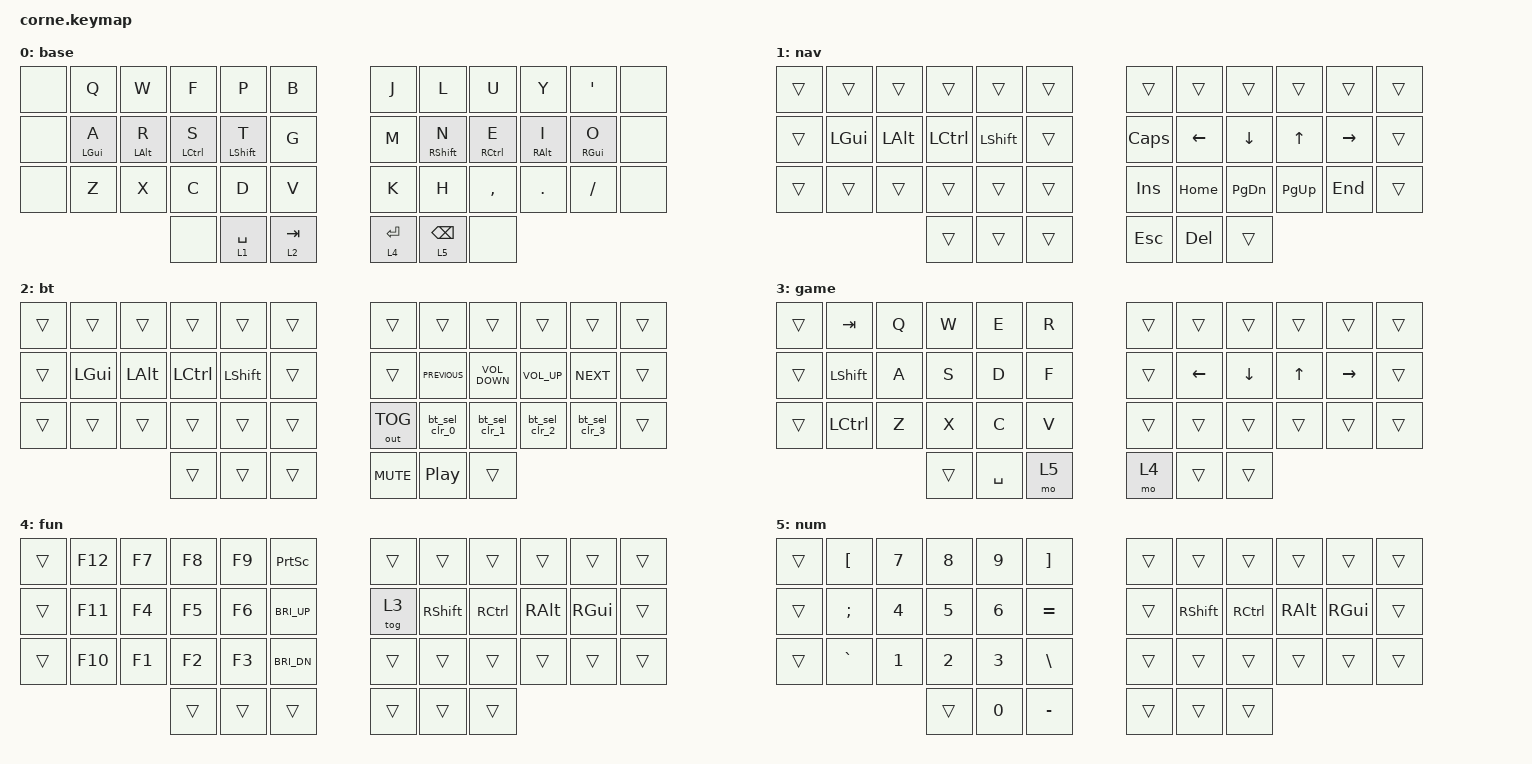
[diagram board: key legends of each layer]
/*
 * Copyright (c) 2020 The ZMK Contributors
 *
 * SPDX-License-Identifier: MIT
 */

#define ZMK_POINTING_DEFAULT_MOVE_VAL 1500  // default: 600
#define ZMK_POINTING_DEFAULT_SCRL_VAL 20    // default: 10

#include <behaviors.dtsi>
#include <dt-bindings/zmk/bt.h>
#include <dt-bindings/zmk/keys.h>
#include <dt-bindings/zmk/outputs.h>

/ {
    combos {
        compatible = "zmk,combos";

        game_esc {
            bindings = <&kp ESC>;
            key-positions = <1 2>;
            layers = <3>;
        };
    };

    behaviors {
        hml: hml {
            compatible = "zmk,behavior-hold-tap";
            label = "HML";
            bindings = <&kp>, <&kp>;

            #binding-cells = <2>;
            tapping-term-ms = <220>;
            quick-tap-ms = <175>;
            flavor = "balanced";
            require-prior-idle-ms = <100>;
            hold-trigger-key-positions = <39 40 41 30 18 6 7 9 10 11 18 19 20 21 22 23 30 31 32 33 34 35 40 41 8 36 37 38>;
            hold-trigger-on-release;
        };

        hmr: hmr {
            compatible = "zmk,behavior-hold-tap";
            label = "HMR";
            bindings = <&kp>, <&kp>;

            #binding-cells = <2>;
            tapping-term-ms = <220>;
            quick-tap-ms = <175>;
            require-prior-idle-ms = <100>;
            flavor = "balanced";
            hold-trigger-key-positions = <0 1 2 3 4 5 12 13 14 15 16 17 24 25 26 27 28 29 36 37 38 39 40 41>;
            hold-trigger-on-release;
        };

        tkl: tkl {
            compatible = "zmk,behavior-hold-tap";
            label = "TKL";
            bindings = <&mo>, <&kp>;

            #binding-cells = <2>;
            tapping-term-ms = <220>;
            quick-tap-ms = <175>;
            flavor = "balanced";
            require-prior-idle-ms = <100>;
            hold-trigger-key-positions = <39 40 41 30 18 6 7 9 10 11 18 19 20 21 22 23 30 31 32 33 34 35 40 41 8 38 37 36>;
            hold-trigger-on-release;
        };

        tkr: tkr {
            compatible = "zmk,behavior-hold-tap";
            label = "TKR";
            bindings = <&mo>, <&kp>;

            #binding-cells = <2>;
            tapping-term-ms = <220>;
            quick-tap-ms = <175>;
            require-prior-idle-ms = <100>;
            flavor = "balanced";
            hold-trigger-key-positions = <0 1 2 3 4 5 12 13 14 15 16 17 24 25 26 27 28 29 36 37 38 39 40 41>;
            hold-trigger-on-release;
        };

        bt_sel_clr_0: bt_sel_clr_0 {
            compatible = "zmk,behavior-mod-morph";
            label = "BT_SEL_CLR_0";
            bindings = <&bt BT_SEL 0>, <&bt BT_CLR>;

            #binding-cells = <0>;
            mods = <(MOD_LSFT|MOD_RSFT)>;
        };

        bt_sel_clr_1: bt_sel_clr_1 {
            compatible = "zmk,behavior-mod-morph";
            label = "BT_SEL_CLR_1";
            bindings = <&bt BT_SEL 1>, <&bt BT_CLR>;

            #binding-cells = <0>;
            mods = <(MOD_LSFT|MOD_RSFT)>;
        };

        bt_sel_clr_2: bt_sel_clr_2 {
            compatible = "zmk,behavior-mod-morph";
            label = "BT_SEL_CLR_2";
            bindings = <&bt BT_SEL 2>, <&bt BT_CLR>;

            #binding-cells = <0>;
            mods = <(MOD_LSFT|MOD_RSFT)>;
        };

        bt_sel_clr_3: bt_sel_clr_3 {
            compatible = "zmk,behavior-mod-morph";
            label = "BT_SEL_CLR_3";
            bindings = <&bt BT_SEL 3>, <&bt BT_CLR>;

            #binding-cells = <0>;
            mods = <(MOD_LSFT|MOD_RSFT)>;
        };

        bt_sel_clr_4: bt_sel_clr_4 {
            compatible = "zmk,behavior-mod-morph";
            label = "BT_SEL_CLR_4";
            bindings = <&bt BT_SEL 4>, <&bt BT_CLR>;

            #binding-cells = <0>;
            mods = <(MOD_LSFT|MOD_RSFT)>;
        };
    };

    keymap {
        compatible = "zmk,keymap";

        base {
            // -----------------------------------------------------------------------------------------
            // |  TAB |  Q  |  W  |  E  |  R  |  T  |   |  Y  |  U   |  I  |  O  |  P  | BKSP |
            // | CTRL |  A  |  S  |  D  |  F  |  G  |   |  H  |  J   |  K  |  L  |  ;  |  '   |
            // | SHFT |  Z  |  X  |  C  |  V  |  B  |   |  N  |  M   |  ,  |  .  |  /  | ESC  |
            //                    | GUI | LWR | SPC |   | ENT | RSE  | ALT |

            bindings = <
&none  &kp Q            &kp W            &kp F                &kp P              &kp B         &kp J         &kp L               &kp U                 &kp Y             &kp SQT           &none
&none  &hml LEFT_GUI A  &hml LEFT_ALT R  &hml LEFT_CONTROL S  &hml LEFT_SHIFT T  &kp G         &kp M         &hmr RIGHT_SHIFT N  &hmr RIGHT_CONTROL E  &hmr RIGHT_ALT I  &hmr RIGHT_GUI O  &none
&none  &kp Z            &kp X            &kp C                &kp D              &kp V         &kp K         &kp H               &kp COMMA             &kp DOT           &kp FSLH          &none
                                         &none                &tkl 1 SPACE       &tkl 2 TAB    &tkr 4 ENTER  &tkr 5 BACKSPACE    &none
            >;
        };

        nav {
            bindings = <
&trans  &trans        &trans        &trans            &trans          &trans    &trans      &trans      &trans         &trans        &trans     &trans
&trans  &kp LEFT_GUI  &kp LEFT_ALT  &kp LEFT_CONTROL  &kp LEFT_SHIFT  &trans    &kp CAPS    &kp LEFT    &kp DOWN       &kp UP_ARROW  &kp RIGHT  &trans
&trans  &trans        &trans        &trans            &trans          &trans    &kp INSERT  &kp HOME    &kp PAGE_DOWN  &kp PAGE_UP   &kp END    &trans
                                    &trans            &trans          &trans    &kp ESC     &kp DELETE  &trans
            >;
        };

        bt {
            bindings = <
&trans  &trans        &trans        &trans            &trans          &trans    &trans        &trans            &trans             &trans           &trans         &trans
&trans  &kp LEFT_GUI  &kp LEFT_ALT  &kp LEFT_CONTROL  &kp LEFT_SHIFT  &trans    &trans        &kp C_PREVIOUS    &kp C_VOLUME_DOWN  &kp C_VOLUME_UP  &kp C_NEXT     &trans
&trans  &trans        &trans        &trans            &trans          &trans    &out OUT_TOG  &bt_sel_clr_0     &bt_sel_clr_1      &bt_sel_clr_2    &bt_sel_clr_3  &trans
                                    &trans            &trans          &trans    &kp C_MUTE    &kp C_PLAY_PAUSE  &trans
            >;
        };

        game {
            bindings = <
&trans  &kp TAB           &kp Q  &kp W   &kp E      &kp R    &trans  &trans    &trans    &trans        &trans     &trans
&trans  &kp LEFT_SHIFT    &kp A  &kp S   &kp D      &kp F    &trans  &kp LEFT  &kp DOWN  &kp UP_ARROW  &kp RIGHT  &trans
&trans  &kp LEFT_CONTROL  &kp Z  &kp X   &kp C      &kp V    &trans  &trans    &trans    &trans        &trans     &trans
                                 &trans  &kp SPACE  &mo 5    &mo 4   &trans    &trans
            >;
        };

        fun {
            bindings = <
&trans  &kp F12  &kp F7  &kp F8  &kp F9  &kp PRINTSCREEN    &trans  &trans           &trans             &trans         &trans         &trans
&trans  &kp F11  &kp F4  &kp F5  &kp F6  &kp C_BRI_UP       &tog 3  &kp RIGHT_SHIFT  &kp RIGHT_CONTROL  &kp RIGHT_ALT  &kp RIGHT_GUI  &trans
&trans  &kp F10  &kp F1  &kp F2  &kp F3  &kp C_BRI_DN       &trans  &trans           &trans             &trans         &trans         &trans
                         &trans  &trans  &trans             &trans  &trans           &trans
            >;
        };

        num {
            bindings = <
&trans  &kp LBKT   &kp N7  &kp N8  &kp N9  &kp RBKT     &trans  &trans           &trans             &trans         &trans         &trans
&trans  &kp SEMI   &kp N4  &kp N5  &kp N6  &kp EQUAL    &trans  &kp RIGHT_SHIFT  &kp RIGHT_CONTROL  &kp RIGHT_ALT  &kp RIGHT_GUI  &trans
&trans  &kp GRAVE  &kp N1  &kp N2  &kp N3  &kp BSLH     &trans  &trans           &trans             &trans         &trans         &trans
                           &trans  &kp N0  &kp MINUS    &trans  &trans           &trans
            >;
        };
    };
};
